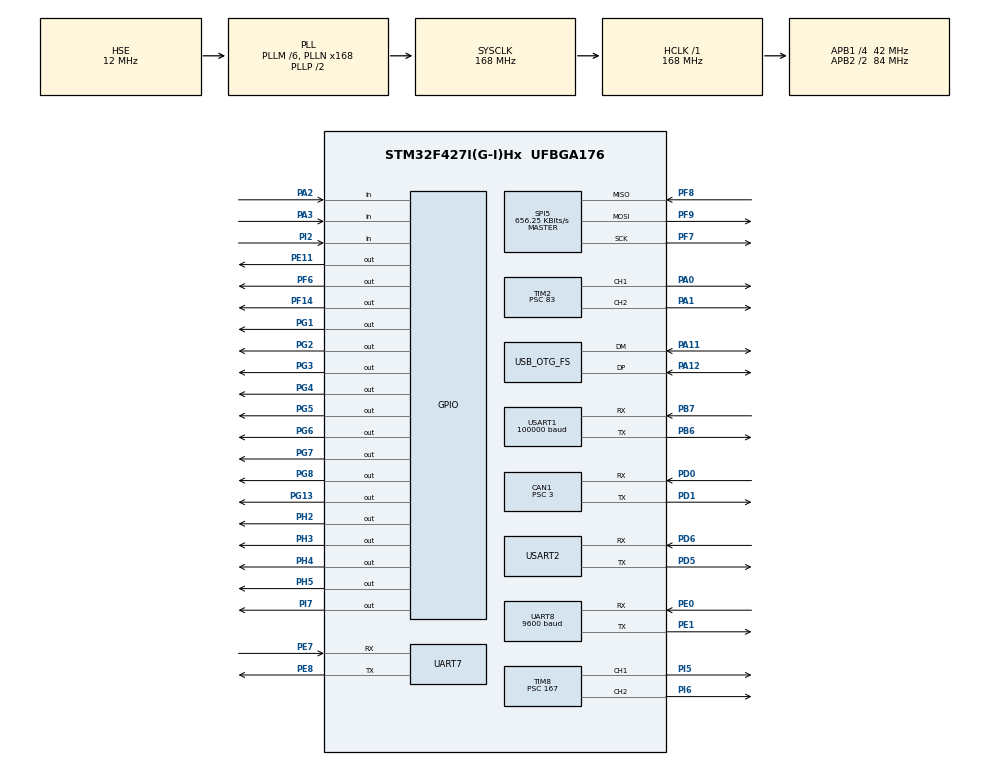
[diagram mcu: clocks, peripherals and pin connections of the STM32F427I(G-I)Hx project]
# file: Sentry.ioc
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CAN1.BS1=CAN_BS1_9TQ
CAN1.BS2=CAN_BS2_4TQ
CAN1.CalculateTimeBit=1000
CAN1.CalculateTimeQuantum=71.42857142857143
CAN1.NART=ENABLE
CAN1.Prescaler=3
Dma.Request0=USART1_RX
Dma.USART1_RX.0.Direction=DMA_PERIPH_TO_MEMORY
Dma.USART1_RX.0.FIFOMode=DMA_FIFOMODE_DISABLE
Dma.USART1_RX.0.Instance=DMA2_Stream2
Dma.USART1_RX.0.MemDataAlignment=DMA_MDATAALIGN_BYTE
Dma.USART1_RX.0.MemInc=DMA_MINC_ENABLE
Dma.USART1_RX.0.Mode=DMA_CIRCULAR
Dma.USART1_RX.0.PeriphDataAlignment=DMA_PDATAALIGN_BYTE
Dma.USART1_RX.0.PeriphInc=DMA_PINC_DISABLE
Dma.USART1_RX.0.Priority=DMA_PRIORITY_VERY_HIGH
FREERTOS.Tasks01=startTask,0,256,StartDefaultTask,As weak,NULL,Dynamic,NULL,NULL
FREERTOS.configTOTAL_HEAP_SIZE=30720
Mcu.Family=STM32F4
Mcu.Name=STM32F427I(G-I)Hx
Mcu.Package=UFBGA176
NVIC.DMA2_Stream2_IRQn=true\:5\:0\:false\:false\:true\:true\:true\:true
NVIC.OTG_FS_IRQn=true\:5\:0\:false\:false\:true\:true\:false\:true
NVIC.PriorityGroup=NVIC_PRIORITYGROUP_4
NVIC.TIM1_UP_TIM10_IRQn=true\:0\:0\:false\:false\:true\:false\:false\:true
NVIC.TIM6_DAC_IRQn=true\:5\:0\:false\:false\:true\:true\:true\:true
NVIC.TimeBase=TIM1_UP_TIM10_IRQn
NVIC.TimeBaseIP=TIM10
NVIC.UART7_IRQn=true\:5\:0\:false\:false\:true\:true\:true\:true
NVIC.UART8_IRQn=true\:5\:0\:false\:false\:true\:true\:true\:true
PA0/WKUP.Signal=S_TIM2_CH1_ETR
PA1.Signal=S_TIM2_CH2
PA11.Mode=Device_Only
PA11.Signal=USB_OTG_FS_DM
PA12.Mode=Device_Only
PA12.Signal=USB_OTG_FS_DP
PA13.Mode=Trace_Asynchronous_SW
PA13.Signal=SYS_JTMS-SWDIO
PA14.Mode=Trace_Asynchronous_SW
PA14.Signal=SYS_JTCK-SWCLK
PA2.Signal=GPIO_Input
PA3.Signal=GPIO_Input
PB3.Mode=Trace_Asynchronous_SW
PB3.Signal=SYS_JTDO-SWO
PB6.Mode=Asynchronous
PB6.Signal=USART1_TX
PB7.Mode=Asynchronous
PB7.Signal=USART1_RX
PD0.Mode=Master
PD0.Signal=CAN1_RX
PD1.Mode=Master
PD1.Signal=CAN1_TX
PD5.Mode=Asynchronous
PD5.Signal=USART2_TX
PD6.Mode=Asynchronous
PD6.Signal=USART2_RX
PE0.Mode=Asynchronous
PE0.Signal=UART8_RX
PE1.Mode=Asynchronous
PE1.Signal=UART8_TX
PE11.Signal=GPIO_Output
PE7.Mode=Asynchronous
PE7.Signal=UART7_RX
PE8.Mode=Asynchronous
PE8.Signal=UART7_TX
PF14.Signal=GPIO_Output
PF6.Signal=GPIO_Output
PF7.Mode=Full_Duplex_Master
PF7.Signal=SPI5_SCK
PF8.Mode=Full_Duplex_Master
PF8.Signal=SPI5_MISO
PF9.Mode=Full_Duplex_Master
PF9.Signal=SPI5_MOSI
PG1.Signal=GPIO_Output
PG13.Signal=GPIO_Output
PG2.Signal=GPIO_Output
PG3.Signal=GPIO_Output
PG4.Signal=GPIO_Output
PG5.Signal=GPIO_Output
PG6.Signal=GPIO_Output
PG7.Signal=GPIO_Output
PG8.Signal=GPIO_Output
PH0/OSC_IN.Mode=HSE-External-Oscillator
PH0/OSC_IN.Signal=RCC_OSC_IN
PH1/OSC_OUT.Mode=HSE-External-Oscillator
PH1/OSC_OUT.Signal=RCC_OSC_OUT
PH2.Signal=GPIO_Output
PH3.Signal=GPIO_Output
PH4.Signal=GPIO_Output
PH5.Signal=GPIO_Output
PI2.Signal=GPIO_Input
PI5.Signal=S_TIM8_CH1
PI6.Signal=S_TIM8_CH2
PI7.Signal=GPIO_Output
ProjectManager.HeapSize=0x200
ProjectManager.StackSize=0x400
ProjectManager.TargetToolchain=SW4STM32
RCC.48MHZClocksFreq_Value=48000000
RCC.AHBFreq_Value=168000000
RCC.APB1CLKDivider=RCC_HCLK_DIV4
RCC.APB1Freq_Value=42000000
RCC.APB1TimFreq_Value=84000000
RCC.APB2CLKDivider=RCC_HCLK_DIV2
RCC.APB2Freq_Value=84000000
RCC.APB2TimFreq_Value=168000000
RCC.CortexFreq_Value=168000000
RCC.HCLKFreq_Value=168000000
RCC.HSE_VALUE=12000000
RCC.HSI_VALUE=16000000
RCC.LSE_VALUE=32768
RCC.PLLM=6
RCC.PLLN=168
RCC.PLLQ=7
RCC.SYSCLKFreq_VALUE=168000000
RCC.SYSCLKSource=RCC_SYSCLKSOURCE_PLLCLK
RCC.VCOOutputFreq_Value=336000000
SH.S_TIM2_CH1_ETR.0=TIM2_CH1,PWM Generation1 CH1
SH.S_TIM2_CH2.0=TIM2_CH2,PWM Generation2 CH2
SH.S_TIM8_CH1.0=TIM8_CH1,PWM Generation1 CH1
SH.S_TIM8_CH2.0=TIM8_CH2,PWM Generation2 CH2
SPI5.BaudRatePrescaler=SPI_BAUDRATEPRESCALER_128
SPI5.CalculateBaudRate=656.25 KBits/s
SPI5.Direction=SPI_DIRECTION_2LINES
SPI5.Mode=SPI_MODE_MASTER
SPI5.VirtualType=VM_MASTER
TIM2.Channel-PWM\ Generation1\ CH1=TIM_CHANNEL_1
TIM2.Channel-PWM\ Generation2\ CH2=TIM_CHANNEL_2
TIM2.Period=19999
TIM2.Prescaler=83
TIM2.Pulse-PWM\ Generation1\ CH1=1000
TIM2.Pulse-PWM\ Generation2\ CH2=1000
TIM6.Period=1000
TIM6.Prescaler=167
TIM8.Channel-PWM\ Generation1\ CH1=TIM_CHANNEL_1
TIM8.Channel-PWM\ Generation2\ CH2=TIM_CHANNEL_2
TIM8.Period=19999
TIM8.Prescaler=167
UART7.VirtualMode=Asynchronous
UART8.BaudRate=9600
UART8.VirtualMode=Asynchronous
USART1.BaudRate=100000
USART1.Mode=MODE_RX
USART1.Parity=PARITY_EVEN
USART1.VirtualMode=VM_ASYNC
USART2.VirtualMode=VM_ASYNC
USB_DEVICE.CLASS_NAME_FS=CDC
USB_DEVICE.VirtualMode-CDC_FS=Cdc
USB_DEVICE.VirtualModeFS=Cdc_FS
USB_OTG_FS.VirtualMode=Device_Only
VP_FREERTOS_VS_CMSIS_V1.Mode=CMSIS_V1
VP_SYS_VS_tim10.Mode=TIM10
VP_TIM6_VS_ClockSourceINT.Mode=Enable_Timer
VP_USB_DEVICE_VS_USB_DEVICE_CDC_FS.Mode=CDC_FS
board=custom

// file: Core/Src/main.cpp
/* USER CODE BEGIN Header */
/**
 ******************************************************************************
 * @file           : main.c
 * @brief          : Main program body
 ******************************************************************************
 * @attention
 *
 * <h2><center>&copy; Copyright (c) 2019 STMicroelectronics.
 * All rights reserved.</center></h2>
 *
 * This software component is licensed by ST under Ultimate Liberty license
 * SLA0044, the "License"; You may not use this file except in compliance with
 * the License. You may obtain a copy of the License at:
 *                             www.st.com/SLA0044
 *
 ******************************************************************************
 */
/* USER CODE END Header */

#include "main.h"
#include "can.h"
#include "cmsis_os.h"
#include "dma.h"
#include "gpio.h"
#include "spi.h"
#include "tim.h"
#include "usart.h"
#include "usb_device.h"
#include <usbd_cdc_if.h>

/* USER CODE BEGIN Includes */
#include <errno.h>
#include <sys/unistd.h> // STDOUT_FILENO, STDERR_FILENO
#include <user.h>
/* USER CODE END Includes */

void SystemClock_Config(void);
void MX_FREERTOS_Init(void);

int main(void) {

  /* MCU Configuration--------------------------------------------------------*/

  /* Reset of all peripherals, Initializes the Flash interface and the Systick.
   */
  HAL_Init();

  /* Configure the system clock */
  SystemClock_Config();

  /* Initialize all configured peripherals */
  MX_GPIO_Init();
  MX_DMA_Init();
  MX_CAN1_Init();
  MX_TIM6_Init();
  MX_USART1_UART_Init();
  MX_TIM8_Init();
  MX_TIM2_Init();
  MX_SPI5_Init();
  MX_USART2_UART_Init();
  MX_UART7_Init();
  MX_UART8_Init();
  /* USER CODE BEGIN 2 */
  MX_USB_DEVICE_Init();
  user_main();
  /* USER CODE END 2 */

  /* Call init function for freertos objects (in freertos.c) */
  MX_FREERTOS_Init();

  /* Start scheduler */
  osKernelStart();

  /* We should never get here as control is now taken by the scheduler */

  /* Infinite loop */
  while (1) {
    /* USER CODE BEGIN 3 */
    auto a = 3.1415926;
    printf("Hello:%.2f\r\n",a);
    HAL_Delay(100);
  }
  /* USER CODE END 3 */
}

void SystemClock_Config(void) {
  RCC_OscInitTypeDef RCC_OscInitStruct = {0};
  RCC_ClkInitTypeDef RCC_ClkInitStruct = {0};

  /** Configure the main internal regulator output voltage
   */
  __HAL_RCC_PWR_CLK_ENABLE();
  __HAL_PWR_VOLTAGESCALING_CONFIG(PWR_REGULATOR_VOLTAGE_SCALE1);
  /** Initializes the CPU, AHB and APB busses clocks
   */
  RCC_OscInitStruct.OscillatorType = RCC_OSCILLATORTYPE_HSE;
  RCC_OscInitStruct.HSEState = RCC_HSE_ON;
  RCC_OscInitStruct.PLL.PLLState = RCC_PLL_ON;
  RCC_OscInitStruct.PLL.PLLSource = RCC_PLLSOURCE_HSE;
  RCC_OscInitStruct.PLL.PLLM = 6;
  RCC_OscInitStruct.PLL.PLLN = 168;
  RCC_OscInitStruct.PLL.PLLP = RCC_PLLP_DIV2;
  RCC_OscInitStruct.PLL.PLLQ = 7;
  if (HAL_RCC_OscConfig(&RCC_OscInitStruct) != HAL_OK) {
    Error_Handler();
  }
  /** Initializes the CPU, AHB and APB busses clocks
   */
  RCC_ClkInitStruct.ClockType = RCC_CLOCKTYPE_HCLK | RCC_CLOCKTYPE_SYSCLK |
                                RCC_CLOCKTYPE_PCLK1 | RCC_CLOCKTYPE_PCLK2;
  RCC_ClkInitStruct.SYSCLKSource = RCC_SYSCLKSOURCE_PLLCLK;
  RCC_ClkInitStruct.AHBCLKDivider = RCC_SYSCLK_DIV1;
  RCC_ClkInitStruct.APB1CLKDivider = RCC_HCLK_DIV4;
  RCC_ClkInitStruct.APB2CLKDivider = RCC_HCLK_DIV2;

  if (HAL_RCC_ClockConfig(&RCC_ClkInitStruct, FLASH_LATENCY_5) != HAL_OK) {
    Error_Handler();
  }
}

/* USER CODE BEGIN 4 */
extern "C" {
int _write(int file, char *data, int len) {
  if ((file != STDOUT_FILENO) && (file != STDERR_FILENO)) {
    errno = EBADF;
    return -1;
  }

  // arbitrary timeout 1000
  auto status = CDC_Transmit_FS((uint8_t *)data, len);

  // return # of bytes written - as best we can tell
  return (status == HAL_OK ? len : 0);
}
}
/* USER CODE END 4 */

void HAL_TIM_PeriodElapsedCallback(TIM_HandleTypeDef *htim) {
  if (htim->Instance == TIM10) {
    HAL_IncTick();
  }
}

void Error_Handler(void) {
}

#ifdef USE_FULL_ASSERT
/**
 * @brief  Reports the name of the source file and the source line number
 *         where the assert_param error has occurred.
 * @param  file: pointer to the source file name
 * @param  line: assert_param error line source number
 * @retval None
 */
void assert_failed(uint8_t *file, uint32_t line) {
  /* USER CODE BEGIN 6 */
  /* User can add his own implementation to report the file name and line
     number,
     tex: printf("Wrong parameters value: file %s on line %d\r\n", file, line)
   */
  /* USER CODE END 6 */
}
#endif /* USE_FULL_ASSERT */

/************************ (C) COPYRIGHT STMicroelectronics *****END OF FILE****/
